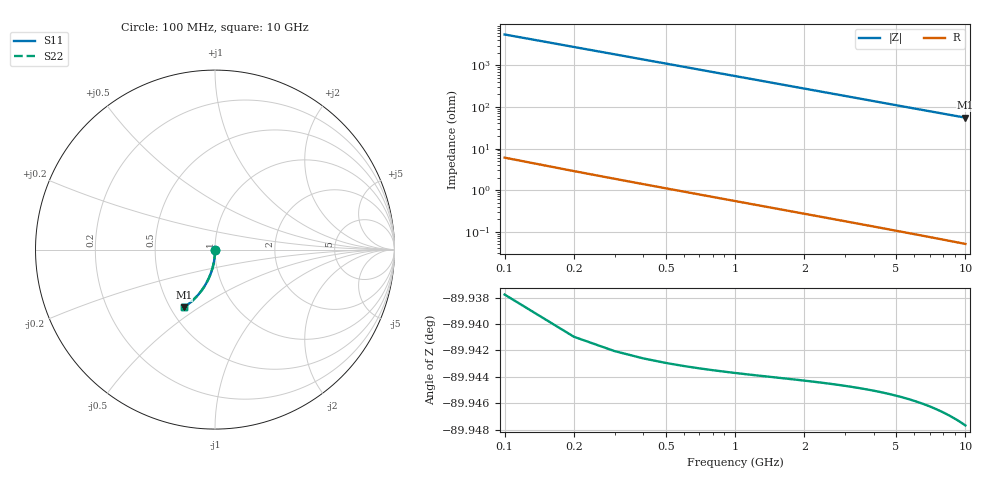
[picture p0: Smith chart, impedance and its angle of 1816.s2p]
# Hz S RI R 50.00
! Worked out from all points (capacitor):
!   100 points, 100 MHz to 10 GHz, reference 50 ohm
!   read as one part in shunt: C = 287 fF near 100 MHz
!   lowest |Z| = 55.3 ohm at 10 GHz (marker M1)
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1e8  0.000112 -0.00392  0.9998 -0.00509  0.9998 -0.00509  0.000112 -0.00392
2e8  4.89e-05 -0.00785  0.9998 -0.0102  0.9998 -0.0102  4.89e-05 -0.00785
3e8  -5.47e-05 -0.0118  0.9997 -0.0153  0.9997 -0.0153  -5.47e-05 -0.0118
4e8  -0.000198 -0.0157  0.9995 -0.0204  0.9995 -0.0204  -0.000198 -0.0157
5e8  -0.000382 -0.0196  0.9993 -0.0254  0.9993 -0.0254  -0.000382 -0.0196
6e8  -0.000606 -0.0235  0.9991 -0.0305  0.9991 -0.0305  -0.000606 -0.0235
7e8  -0.00087 -0.0275  0.9988 -0.0356  0.9988 -0.0356  -0.00087 -0.0275
8e8  -0.00117 -0.0314  0.9985 -0.0407  0.9985 -0.0407  -0.00117 -0.0314
9e8  -0.00152 -0.0353  0.9981 -0.0458  0.9981 -0.0458  -0.00152 -0.0353
1.1e9  -0.00232 -0.0431  0.9973 -0.0559  0.9973 -0.0559  -0.00232 -0.0431
1.4e9  -0.00383 -0.0548  0.9957 -0.0711  0.9957 -0.0711  -0.00383 -0.0548
1.8e9  -0.0064 -0.0703  0.9931 -0.0913  0.9931 -0.0913  -0.0064 -0.0703
2.1e9  -0.00874 -0.0818  0.9907 -0.1064  0.9907 -0.1064  -0.00874 -0.0818
2.5e9  -0.0124 -0.0971  0.9869 -0.1264  0.9869 -0.1264  -0.0124 -0.0971
2.9e9  -0.0167 -0.1122  0.9825 -0.1462  0.9825 -0.1462  -0.0167 -0.1122
3.4e9  -0.0229 -0.1308  0.976 -0.1707  0.976 -0.1707  -0.0229 -0.1308
4.2e9  -0.0347 -0.1597  0.9638 -0.209  0.9638 -0.209  -0.0347 -0.1597
5.1e9  -0.0506 -0.1907  0.9473 -0.2508  0.9473 -0.2508  -0.0506 -0.1907
5.9e9  -0.0668 -0.2167  0.9304 -0.2864  0.9304 -0.2864  -0.0668 -0.2167
6.7e9  -0.0849 -0.2411  0.9116 -0.3205  0.9116 -0.3205  -0.0849 -0.2411
8.4e9  -0.1283 -0.2868  0.8663 -0.387  0.8663 -0.387  -0.1283 -0.2868
1e10  -0.1738 -0.3216  0.8186 -0.4418  0.8186 -0.4418  -0.1738 -0.3216
